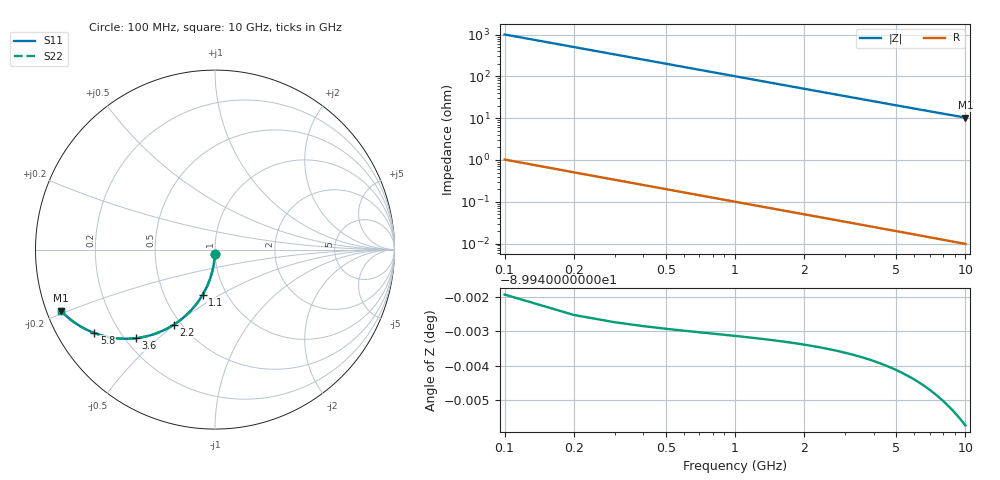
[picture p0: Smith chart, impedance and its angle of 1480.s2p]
# Hz S RI R 50.00
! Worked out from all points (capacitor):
!   100 points, 100 MHz to 10 GHz, reference 50 ohm
!   read as one part in shunt: C = 1.58 pF near 100 MHz
!   lowest |Z| = 10.3 ohm at 10 GHz (marker M1)
!   S11 on the Smith chart (normalised r, x): 100 MHz: 1.00, -0.05; 1.1 GHz: 0.77, -0.42; 2.2 GHz: 0.46, -0.50; 3.6 GHz: 0.24, -0.43; 5.8 GHz: 0.11, -0.31; 10 GHz: 0.04, -0.19
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1e8  -0.00062 -0.0247  0.9993 -0.0248  0.9993 -0.0248  -0.00062 -0.0247
2e8  -0.00248 -0.0493  0.9975 -0.0496  0.9975 -0.0496  -0.00248 -0.0493
3e8  -0.00555 -0.0737  0.9944 -0.0741  0.9944 -0.0741  -0.00555 -0.0737
4e8  -0.0098 -0.0978  0.9902 -0.0984  0.9902 -0.0984  -0.0098 -0.0978
5e8  -0.0152 -0.1216  0.9848 -0.1223  0.9848 -0.1223  -0.0152 -0.1216
6e8  -0.0217 -0.1449  0.9782 -0.1458  0.9782 -0.1458  -0.0217 -0.1449
7e8  -0.0293 -0.1678  0.9706 -0.1688  0.9706 -0.1688  -0.0293 -0.1678
9e8  -0.0475 -0.2116  0.9525 -0.2129  0.9525 -0.2129  -0.0475 -0.2116
1.1e9  -0.0693 -0.2526  0.9307 -0.2542  0.9307 -0.2542  -0.0693 -0.2526
1.4e9  -0.1075 -0.3082  0.8925 -0.3102  0.8925 -0.3102  -0.1075 -0.3082
1.8e9  -0.1658 -0.3701  0.8342 -0.3727  0.8342 -0.3727  -0.1658 -0.3701
2.2e9  -0.2287 -0.4179  0.7713 -0.4211  0.7713 -0.4211  -0.2287 -0.4179
2.8e9  -0.3241 -0.4655  0.6759 -0.4696  0.6759 -0.4696  -0.3241 -0.4655
3.4e9  -0.4138 -0.4896  0.5862 -0.4945  0.5862 -0.4945  -0.4138 -0.4896
3.6e9  -0.4416 -0.4935  0.5583 -0.4987  0.5583 -0.4987  -0.4416 -0.4935
4.3e9  -0.5298 -0.4955  0.4702 -0.5017  0.4702 -0.5017  -0.5298 -0.4955
5.1e9  -0.6127 -0.4829  0.3872 -0.4903  0.3872 -0.4903  -0.6127 -0.4829
5.8e9  -0.6715 -0.4649  0.3285 -0.4734  0.3285 -0.4734  -0.6715 -0.4649
6.7e9  -0.7314 -0.4378  0.2685 -0.4476  0.2685 -0.4476  -0.7314 -0.4378
7.5e9  -0.7732 -0.4127  0.2267 -0.4237  0.2267 -0.4237  -0.7732 -0.4127
8.4e9  -0.8104 -0.3852  0.1895 -0.3977  0.1895 -0.3977  -0.8104 -0.3852
1e10  -0.8582 -0.3407  0.1416 -0.3557  0.1416 -0.3557  -0.8582 -0.3407
